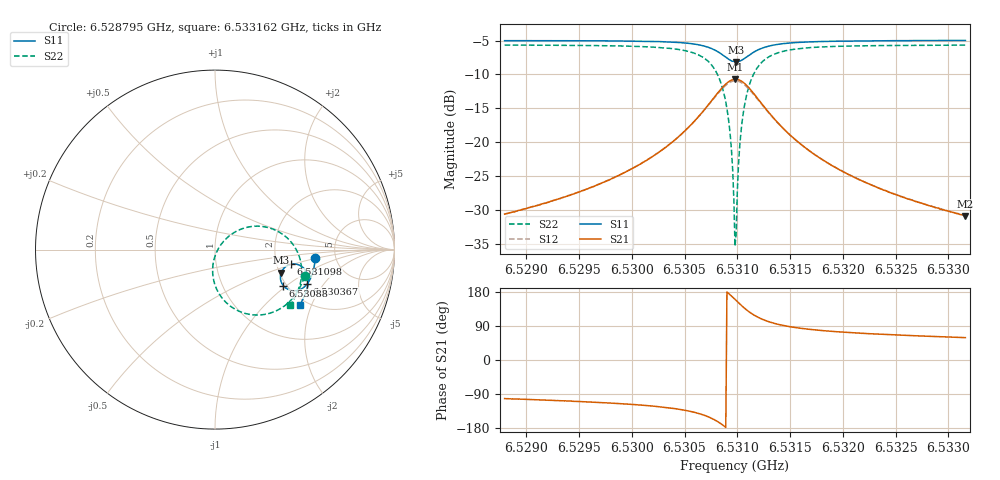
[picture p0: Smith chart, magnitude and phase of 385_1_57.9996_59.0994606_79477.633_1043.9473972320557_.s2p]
#  HZ  S  RI  R  50.00
! Rohde & Schwarz Vector Network Analyzer
! Rohde-Schwarz,ZNB20-2Port,1311601062101988,3.16
! Created: UTC 3/21/2024, 1:07:35 AM
! freq[Hz]  re:S11  im:S11  re:S21  im:S21  re:S12  im:S12  re:S22  im:S22
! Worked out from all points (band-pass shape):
!   401 points, 6.528795 GHz to 6.533162 GHz, reference 50 ohm
!   highest |S21| = -10.70 dB at 6.530978 GHz (marker M1); lowest = -30.9 dB at 6.533162 GHz (marker M2)
!   |S21| within 3 dB of the highest: 6.530765 GHz to 6.531201 GHz (435.9 kHz wide, 0.00667 % of centre)
!   lowest |S11| = -8.2 dB at 6.530989 GHz (marker M3), VSWR 2.28, Z = 102 - j30.9 ohm
!   |S11| at or under -10 dB: nowhere
!   |S22| runs from -35.3 to -5.7 dB; largest |S21 - S12| = 0.011
!   S11 on the Smith chart (normalised r, x): 6.528795 GHz: 3.49, -0.48; 6.530367 GHz: 2.57, -1.40; 6.53088 GHz: 1.92, -0.95; 6.531098 GHz: 2.40, -0.48; 6.533162 GHz: 1.82, -1.65
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6.5287949e9  0.5591 -0.047  -0.00604 -0.0289  -0.00668 -0.0288  0.4987 -0.1498
6.5295263e9  0.55 -0.107  -0.0149 -0.0413  -0.0158 -0.0409  0.47 -0.2164
6.5302577e9  0.5231 -0.1777  -0.0464 -0.0706  -0.0482 -0.0696  0.3934 -0.3089
6.5303669e9  0.5143 -0.1904  -0.0586 -0.0785  -0.0607 -0.077  0.3675 -0.3269
6.5305634e9  0.4884 -0.2148  -0.0973 -0.0937  -0.1 -0.0903  0.2908 -0.3583
6.5307162e9  0.4492 -0.2291  -0.1583 -0.0954  -0.1606 -0.0892  0.1784 -0.3581
6.5308145e9  0.4092 -0.2229  -0.2206 -0.0689  -0.2197 -0.0601  0.0732 -0.3048
6.53088e9  0.3804 -0.2006  -0.2629 -0.0208  -0.2583 -0.0117  0.00782 -0.2173
6.5309236e9  0.3671 -0.175  -0.28 0.0285  -0.2724 0.0363  -0.0129 -0.1325
6.5309455e9  0.3644 -0.1597  -0.2818 0.0568  -0.2728 0.0631  -0.0115 -0.0853
6.5309673e9  0.3648 -0.1437  -0.2778 0.0861  -0.2682 0.0905  -0.000408 -0.0378
6.5309782e9  0.3664 -0.1359  -0.2738 0.1003  -0.264 0.104  0.00838 -0.0149
6.5309891e9  0.3689 -0.128  -0.2682 0.1141  -0.2583 0.117  0.0198 0.00692
6.531e9  0.3723 -0.1207  -0.2612 0.1274  -0.2515 0.1293  0.0331 0.0277
6.5310219e9  0.3809 -0.1073  -0.2441 0.1513  -0.2347 0.1515  0.0651 0.0639
6.5310437e9  0.3919 -0.0964  -0.2231 0.1705  -0.2148 0.1695  0.1023 0.0927
6.5310983e9  0.4237 -0.0814  -0.1657 0.1976  -0.1597 0.1948  0.2024 0.1285
6.5311747e9  0.4632 -0.084  -0.0958 0.1971  -0.093 0.1943  0.3198 0.1155
6.5312839e9  0.497 -0.1064  -0.0368 0.1671  -0.0354 0.1657  0.4162 0.051
6.5317096e9  0.5193 -0.1828  0.0143 0.0824  0.0152 0.0821  0.4832 -0.1285
6.532441e9  0.4994 -0.2554  0.0168 0.0392  0.0175 0.0392  0.4555 -0.2446
6.5331615e9  0.4715 -0.3082  0.0147 0.0245  0.0153 0.0244  0.4205 -0.3069
